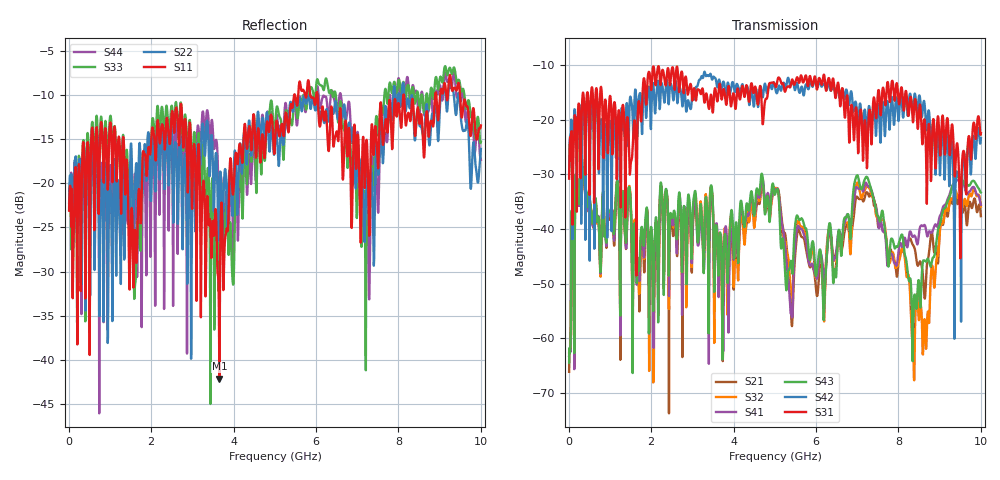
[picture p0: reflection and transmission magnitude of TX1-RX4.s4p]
# Hz S  RI  R 50
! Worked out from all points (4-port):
!   1601 points, 10 MHz to 10 GHz, reference 50 ohm
!   strongest paths, dB at 10 MHz, 2.507 GHz, 5.005 GHz, 7.503 GHz, 10 GHz:
!     S31: -30.8, -10.5, -13.6, -15.1, -22.4
!     S42: -29.9, -14.3, -13.9, -17.1, -23.4
!     S43: -64.5, -38.0, -33.7, -37.6, -33.3
!     S41: -63.3, -39.0, -32.8, -38.5, -35.6
!     S32: -62.7, -38.6, -32.5, -38.4, -35.9
!     S21: -66.2, -39.3, -32.7, -39.3, -37.7
!   lowest |S11| = -42.1 dB at 3.656 GHz (marker M1), VSWR 1.02, Z = 49.9 - j0.778 ohm
!   |S11| at or under -10 dB: start of sweep to 5.468 GHz; 6.034 GHz to 8.12 GHz (2.085 GHz wide, 29.5 % of centre); 8.133 GHz to 8.89 GHz (757 MHz wide, 8.89 % of centre)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
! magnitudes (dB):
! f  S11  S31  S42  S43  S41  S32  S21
! 10 MHz  -23.1  -30.8  -29.9  -64.5  -63.3  -62.7  -66.2
! 328.4 MHz  -17.5  -16.4  -19.0  -28.2  -28.6  -28.6  -28.9
! 3.656 GHz  -42.1  -13.5  -12.7  -42.0  -45.1  -40.7  -42.6
! 6.198 GHz  -12.9  -11.8  -13.4  -54.9  -49.3  -56.9  -51.5
! 7.259 GHz  -18.6  -23.1  -19.7  -30.8  -32.2  -32.2  -33.5
! 8.358 GHz  -11.0  -20.3  -17.8  -57.8  -41.4  -61.3  -43.0
! 10 GHz  -13.4  -22.4  -23.4  -33.3  -35.6  -35.9  -37.7
